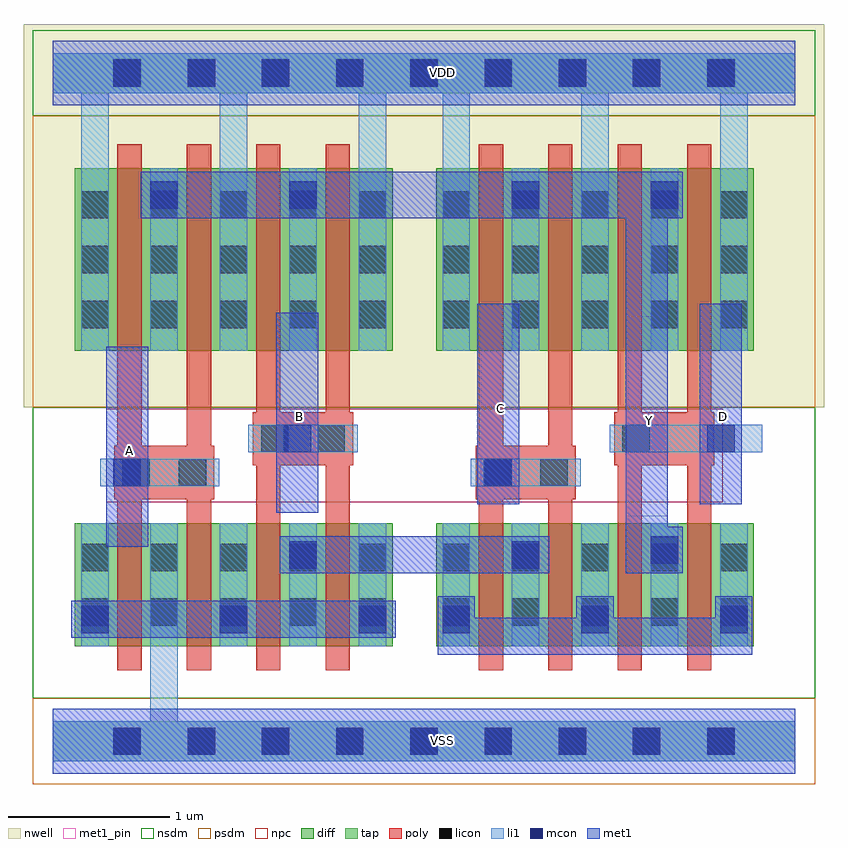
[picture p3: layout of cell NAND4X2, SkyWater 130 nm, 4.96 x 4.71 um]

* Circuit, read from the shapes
.subckt NAND4X2 A B C D VDD VSS Y
XM1 VSS A n1 VSS sky130_fd_pr__nfet_01v8 w=0.76 l=0.15 m=2
XM2 n2 B n1 VSS sky130_fd_pr__nfet_01v8 w=0.76 l=0.15 m=2
XM3 n2 C n3 VSS sky130_fd_pr__nfet_01v8 w=0.76 l=0.15 m=2
XM4 Y D n3 VSS sky130_fd_pr__nfet_01v8 w=0.76 l=0.15 m=2
XM5 Y A VDD VDD sky130_fd_pr__pfet_01v8 w=1.13 l=0.15 m=2
XM6 Y B VDD VDD sky130_fd_pr__pfet_01v8 w=1.13 l=0.15 m=2
XM7 Y C VDD VDD sky130_fd_pr__pfet_01v8 w=1.13 l=0.15 m=2
XM8 Y D VDD VDD sky130_fd_pr__pfet_01v8 w=1.13 l=0.15 m=2
.ends

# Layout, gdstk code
import gdstk
lib = gdstk.Library(unit=1e-6, precision=1e-09)
def R(c, l, rs):  # rectangles x0, y0, x1, y1
    for r in rs: c.add(gdstk.rectangle(r[:2], r[2:], *l))
def A(c, l, x, y, w, h, nx, ny, dx, dy):  # array of equal rectangles
    R(c, l, [(x+i*dx, y+j*dy, x+i*dx+w, y+j*dy+h) for i in range(nx) for j in range(ny)])
def P(c, l, *ps):  # polygons
    for p in ps: c.add(gdstk.Polygon(p, *l))
nwell = (64, 20)
diff = (65, 20)
tap = (65, 44)
poly = (66, 20)
licon = (66, 44)
li1 = (67, 20)
mcon = (67, 44)
met1_pin = (68, 16)
met1 = (68, 20)
nsdm = (93, 44)
psdm = (94, 20)
npc = (95, 20)

pyl1con_c_cdns_751554744 = lib.new_cell('PYL1CON_C_CDNS_751554744751')
R(pyl1con_c_cdns_751554744, poly, [(-0.135,-0.165,0.135,0.165)])
R(pyl1con_c_cdns_751554744, licon, [(-0.085,-0.085,0.085,0.085)])
R(pyl1con_c_cdns_751554744, npc, [(-0.185,-0.185,0.185,0.185)])

l1m1_c_cdns_751554744750 = lib.new_cell('L1M1_C_CDNS_751554744750_CDNS_7956644774916')
R(l1m1_c_cdns_751554744750, li1, [(-0.085,-0.165,0.085,0.165)])
R(l1m1_c_cdns_751554744750, mcon, [(-0.085,-0.085,0.085,0.085)])
R(l1m1_c_cdns_751554744750, met1, [(-0.145,-0.115,0.145,0.115)])

c_l1m1_c_cdns_751554744750 = lib.new_cell('L1M1_C_CDNS_751554744750_CDNS_7956644774912')
R(c_l1m1_c_cdns_751554744750, li1, [(-0.165,-0.085,0.165,0.085)])
R(c_l1m1_c_cdns_751554744750, mcon, [(-0.085,-0.085,0.085,0.085)])
R(c_l1m1_c_cdns_751554744750, met1, [(-0.115,-0.145,0.115,0.145)])

c_l1m1_c_cdns_751554744750_ = lib.new_cell('L1M1_C_CDNS_751554744750_CDNS_7956644774911')
R(c_l1m1_c_cdns_751554744750_, li1, [(-0.085,-0.165,0.085,0.165)])
R(c_l1m1_c_cdns_751554744750_, mcon, [(-0.085,-0.085,0.085,0.085)])
R(c_l1m1_c_cdns_751554744750_, met1, [(-0.115,-0.145,0.115,0.145)])

nand4x2 = lib.new_cell('NAND4X2')
R(nand4x2, nwell, [(-0.18,2.07,4.78,4.445)])
R(nand4x2, diff, [(0.135,0.59,2.105,1.35), (2.375,0.59,4.345,1.35), (0.135,2.42,2.105,3.55), (2.375,2.42,4.345,3.55)])
P(nand4x2, poly, [(3.5,0.44),(3.5,1.71),(3.48,1.71),(3.48,2.04),(3.5,2.04),(3.5,3.7),(3.65,3.7),(3.65,2.04),(3.93,2.04),(3.93,3.7),(4.08,3.7),(4.08,2.04),(4.1,2.04),(4.1,1.71),(4.08,1.71),(4.08,0.44),(3.93,0.44),(3.93,1.71),(3.65,1.71),(3.65,0.44)],
  [(2.64,0.44),(2.64,1.5),(2.62,1.5),(2.62,1.83),(2.64,1.83),(2.64,3.7),(2.79,3.7),(2.79,1.83),(3.07,1.83),(3.07,3.7),(3.22,3.7),(3.22,1.83),(3.24,1.83),(3.24,1.5),(3.22,1.5),(3.22,0.44),(3.07,0.44),(3.07,1.5),(2.79,1.5),(2.79,0.44)],
  [(1.26,0.44),(1.26,1.71),(1.24,1.71),(1.24,2.04),(1.26,2.04),(1.26,3.7),(1.41,3.7),(1.41,2.04),(1.69,2.04),(1.69,3.7),(1.84,3.7),(1.84,2.04),(1.86,2.04),(1.86,1.71),(1.84,1.71),(1.84,0.44),(1.69,0.44),(1.69,1.71),(1.41,1.71),(1.41,0.44)],
  [(0.4,0.44),(0.4,1.5),(0.38,1.5),(0.38,1.83),(0.4,1.83),(0.4,3.7),(0.55,3.7),(0.55,1.83),(0.83,1.83),(0.83,3.7),(0.98,3.7),(0.98,1.83),(1,1.83),(1,1.5),(0.98,1.5),(0.98,0.44),(0.83,0.44),(0.83,1.5),(0.55,1.5),(0.55,0.44)])
A(nand4x2, licon, 0.375, -0.085, 0.17, 0.17, 9, 2, 0.46, 4.14)
A(nand4x2, licon, 0.175, 0.715, 0.17, 0.17, 5, 2, 0.43, 0.34)
A(nand4x2, licon, 2.415, 0.715, 0.17, 0.17, 5, 2, 0.43, 0.34)
A(nand4x2, licon, 0.175, 2.56, 0.17, 0.17, 5, 3, 0.43, 0.34)
A(nand4x2, licon, 2.415, 2.56, 0.17, 0.17, 5, 3, 0.43, 0.34)
A(nand4x2, li1, 1.035, 0.59, 0.17, 0.76, 3, 1, 0.43, 0)
A(nand4x2, li1, 2.415, 0.59, 0.17, 0.76, 5, 1, 0.43, 0)
R(nand4x2, li1, [(0.175,0.59,0.345,1.35), (0.605,2.42,0.775,3.55), (1.465,2.42,1.635,3.55), (2.845,2.42,3.015,3.55), (3.705,2.42,3.875,3.55)])
P(nand4x2, li1, [(0,-0.125),(0,0.125),(0.605,0.125),(0.605,1.35),(0.775,1.35),(0.775,0.125),(4.6,0.125),(4.6,-0.125)],
  [(0.175,2.42),(0.175,4.015),(0,4.015),(0,4.265),(4.6,4.265),(4.6,4.015),(4.305,4.015),(4.305,2.42),(4.135,2.42),(4.135,4.015),(3.445,4.015),(3.445,2.42),(3.275,2.42),(3.275,4.015),(2.585,4.015),(2.585,2.42),(2.415,2.42),(2.415,4.015),(2.065,4.015),(2.065,2.42),(1.895,2.42),(1.895,4.015),(1.205,4.015),(1.205,2.42),(1.035,2.42),(1.035,4.015),(0.345,4.015),(0.345,2.42)])
A(nand4x2, mcon, 0.375, -0.085, 0.17, 0.17, 9, 2, 0.46, 4.14)
R(nand4x2, met1_pin, [(0.33,1.205,0.59,2.445), (3.55,1.395,3.81,2.635), (1.385,1.415,1.645,2.655), (2.63,1.47,2.89,2.71), (4.01,1.47,4.27,2.71)])
P(nand4x2, met1, [(3.55,1.04),(3.55,3.24),(0.545,3.24),(0.545,3.53),(3.905,3.53),(3.905,3.24),(3.81,3.24),(3.81,1.04)])
R(nand4x2, nsdm, [(-0.125,0.265,4.725,2.07), (-0.125,3.875,4.725,4.405)])
R(nand4x2, psdm, [(-0.125,-0.265,4.725,0.265), (-0.125,2.07,4.725,3.875)])
R(nand4x2, npc, [(0.33,1.48,4.15,2.06)])
nand4x2.add(gdstk.FlexPath([(3.45,1.875),(4.395,1.875)], 0.17, ends="flush", simple_path=True, layer=67, datatype=20))  # li1
nand4x2.add(gdstk.FlexPath([(2.59,1.665),(3.27,1.665)], 0.17, ends="flush", simple_path=True, layer=67, datatype=20))  # li1
nand4x2.add(gdstk.FlexPath([(0.35,1.665),(1.03,1.665)], 0.17, ends="flush", simple_path=True, layer=67, datatype=20))  # li1
nand4x2.add(gdstk.FlexPath([(1.21,1.875),(1.89,1.875)], 0.17, ends="flush", simple_path=True, layer=67, datatype=20))  # li1
nand4x2.add(gdstk.FlexPath([(0,0),(4.6,0)], 0.4, ends="flush", simple_path=True, layer=68, datatype=20))  # met1
nand4x2.add(gdstk.FlexPath([(0,4.14),(4.6,4.14)], 0.4, ends="flush", simple_path=True, layer=68, datatype=20))  # met1
nand4x2.add(gdstk.FlexPath([(3.075,1.155),(1.405,1.155)], 0.23, ends="flush", simple_path=True, layer=68, datatype=20))  # met1
nand4x2.add(gdstk.FlexPath([(1.98,0.755),(0.26,0.755)], 0.23, ends="flush", simple_path=True, layer=68, datatype=20))  # met1
nand4x2.add(gdstk.FlexPath([(4.14,1.47),(4.14,2.71)], 0.26, ends="flush", simple_path=True, layer=68, datatype=20))  # met1
nand4x2.add(gdstk.FlexPath([(2.76,1.47),(2.76,2.71)], 0.26, ends="flush", simple_path=True, layer=68, datatype=20))  # met1
nand4x2.add(gdstk.FlexPath([(1.515,1.415),(1.515,2.655)], 0.26, ends="flush", simple_path=True, layer=68, datatype=20))  # met1
nand4x2.add(gdstk.FlexPath([(0.46,1.205),(0.46,2.445)], 0.26, ends="flush", simple_path=True, layer=68, datatype=20))  # met1
nand4x2.add(gdstk.FlexPath([(4.335,0.65),(2.385,0.65)], 0.23, ends="flush", simple_path=True, layer=68, datatype=20))  # met1
nand4x2.add(gdstk.FlexPath([(0,4.14),(4.6,4.14)], 0.25, ends="flush", simple_path=True, layer=65, datatype=44))  # tap
nand4x2.add(gdstk.FlexPath([(0,0),(4.6,0)], 0.25, ends="flush", simple_path=True, layer=65, datatype=44))  # tap
nand4x2.add(gdstk.FlexPath([(0,0),(4.6,0)], 0.4, ends="flush", simple_path=True, layer=68, datatype=16))  # met1_pin
nand4x2.add(gdstk.FlexPath([(0,4.14),(4.6,4.14)], 0.4, ends="flush", simple_path=True, layer=68, datatype=16))  # met1_pin
nand4x2.add(gdstk.Reference(pyl1con_c_cdns_751554744, (0.865,1.665)))
nand4x2.add(gdstk.Reference(pyl1con_c_cdns_751554744, (1.725,1.875)))
nand4x2.add(gdstk.Reference(pyl1con_c_cdns_751554744, (1.375,1.875)))
nand4x2.add(gdstk.Reference(pyl1con_c_cdns_751554744, (0.515,1.665)))
nand4x2.add(gdstk.Reference(pyl1con_c_cdns_751554744, (3.615,1.875)))
nand4x2.add(gdstk.Reference(pyl1con_c_cdns_751554744, (3.105,1.665)))
nand4x2.add(gdstk.Reference(pyl1con_c_cdns_751554744, (2.755,1.665)))
nand4x2.add(gdstk.Reference(l1m1_c_cdns_751554744750, (0.26,0.755)))
nand4x2.add(gdstk.Reference(l1m1_c_cdns_751554744750, (1.12,0.755)))
nand4x2.add(gdstk.Reference(l1m1_c_cdns_751554744750, (1.98,0.755)))
nand4x2.add(gdstk.Reference(l1m1_c_cdns_751554744750, (2.93,1.155)))
nand4x2.add(gdstk.Reference(l1m1_c_cdns_751554744750, (1.55,1.155)))
nand4x2.add(gdstk.Reference(c_l1m1_c_cdns_751554744750, (0.46,1.665), x_reflection=True))
nand4x2.add(gdstk.Reference(c_l1m1_c_cdns_751554744750, (1.515,1.875), x_reflection=True))
nand4x2.add(gdstk.Reference(c_l1m1_c_cdns_751554744750, (2.76,1.665), x_reflection=True))
nand4x2.add(gdstk.Reference(c_l1m1_c_cdns_751554744750, (4.14,1.875), x_reflection=True))
nand4x2.add(gdstk.Reference(c_l1m1_c_cdns_751554744750_, (2.5,0.755)))
nand4x2.add(gdstk.Reference(c_l1m1_c_cdns_751554744750_, (4.22,0.755)))
nand4x2.add(gdstk.Reference(c_l1m1_c_cdns_751554744750_, (0.69,3.385)))
nand4x2.add(gdstk.Reference(c_l1m1_c_cdns_751554744750_, (1.55,3.385)))
nand4x2.add(gdstk.Reference(c_l1m1_c_cdns_751554744750_, (2.93,3.385)))
nand4x2.add(gdstk.Reference(c_l1m1_c_cdns_751554744750_, (3.79,1.185)))
nand4x2.add(gdstk.Reference(c_l1m1_c_cdns_751554744750_, (3.79,3.385)))
nand4x2.add(gdstk.Reference(c_l1m1_c_cdns_751554744750_, (3.36,0.755)))
nand4x2.add(gdstk.Label('VSS', (2.415,0.005), layer=68, texttype=5))
nand4x2.add(gdstk.Label('VDD', (2.415,4.145), layer=68, texttype=5))
nand4x2.add(gdstk.Label('C', (2.775,2.065), layer=68, texttype=5))
nand4x2.add(gdstk.Label('A', (0.475,1.8), layer=68, texttype=5))
nand4x2.add(gdstk.Label('B', (1.53,2.01), layer=68, texttype=5))
nand4x2.add(gdstk.Label('Y', (3.695,1.99), layer=68, texttype=5))
nand4x2.add(gdstk.Label('D', (4.155,2.01), layer=68, texttype=5))

lib.write_gds('NAND4X2.gds')
